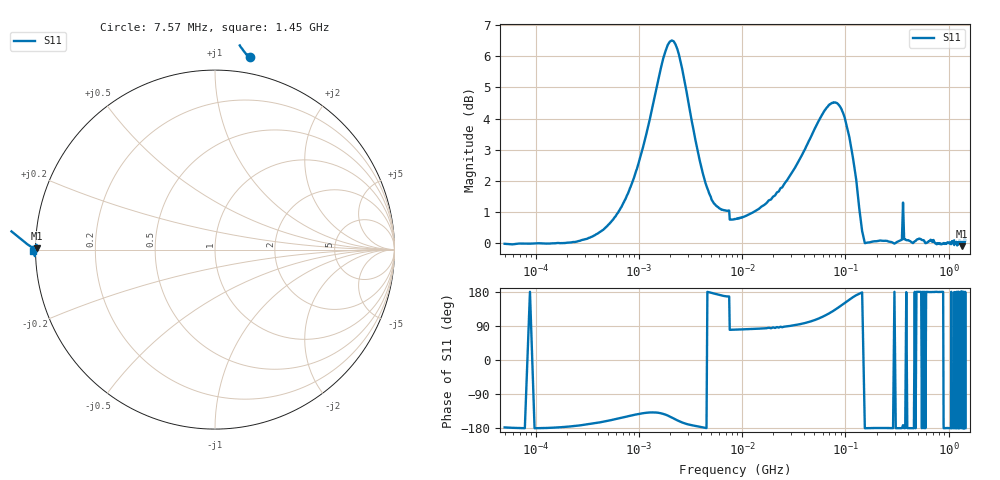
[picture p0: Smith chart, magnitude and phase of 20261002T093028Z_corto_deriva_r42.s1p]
! piloto_deriva / corto_deriva / r42
# HZ S RI R 50
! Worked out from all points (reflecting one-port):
!   501 points, 50 kHz to 1.45 GHz, reference 50 ohm
!   lowest |S11| = -0.1 dB at 1.355 GHz (marker M1), VSWR 198.35, Z = 0.252 + j0.192 ohm
!   phase of S11 starts at -178 deg and turns -2 deg over the sweep
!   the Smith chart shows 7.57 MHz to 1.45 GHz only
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50000  -0.998 -0.0368
183000  -0.9999 -0.0525
373000  -1.004 -0.2343
658000  -1.014 -0.5104
1180000  -1.135 -0.9781
1630000  -1.475 -1.212
1990000  -1.808 -1.079
2170000  -1.9 -0.9131
2440000  -1.9 -0.647
3070000  -1.632 -0.2687
4330000  -1.262 -0.0307
7300000  -1.102 0.2422
7750000  0.1949 1.074
8560000  0.1865 1.078
2.08e7  0.1138 1.188
3.16e7  -0.0348 1.313
4.69e7  -0.3228 1.454
6.76e7  -0.8599 1.417
7.93e7  -1.139 1.238
9.37e7  -1.355 0.8997
9.82e7  -1.386 0.7833
1e8  -1.391 0.7378
1.18e8  -1.33 0.3403
1.36e8  -1.134 0.1013
1.63e8  -1.003 -0.00387
4.06e8  -1.012 -0.0041
1.3555e9  -0.9899 0.00761
1.45e9  -1.013 -0.00655
